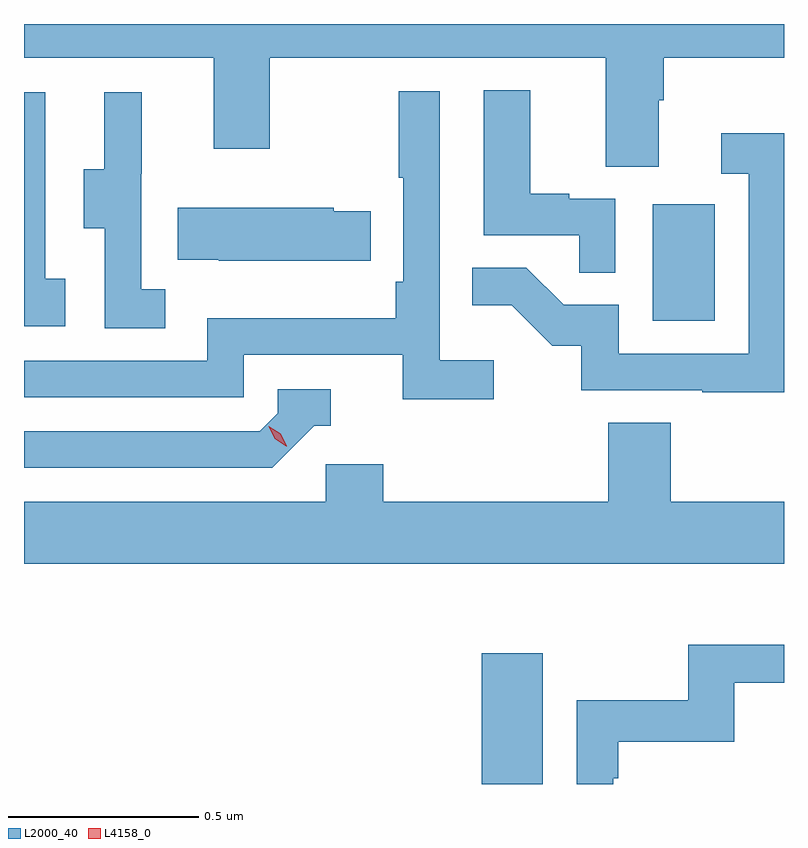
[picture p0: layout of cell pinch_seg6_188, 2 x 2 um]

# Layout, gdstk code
import gdstk
lib = gdstk.Library(unit=1e-6, precision=1e-09)
def R(c, l, rs):  # rectangles x0, y0, x1, y1
    for r in rs: c.add(gdstk.rectangle(r[:2], r[2:], *l))
def P(c, l, *ps):  # polygons
    for p in ps: c.add(gdstk.Polygon(p, *l))
L2000_40 = (2000, 40)
L4158_0 = (4158, 0)

pinch_seg6_188 = lib.new_cell('pinch_seg6_188')
R(pinch_seg6_188, L2000_40, [(1058.018,932.105,1058.179,932.449), (1058.468,933.324,1058.632,933.631)])
P(pinch_seg6_188, L2000_40, [(1058.485,933.904),(1058.498,933.904),(1058.498,934.016),(1058.814,934.016),(1058.814,934.105),(1056.814,934.105),(1056.814,934.016),(1057.313,934.016),(1057.313,933.777),(1057.461,933.777),(1057.461,934.016),(1058.345,934.016),(1058.345,933.73),(1058.485,933.73)],
  [(1058.37,933.645),(1058.249,933.645),(1058.249,933.658),(1058.146,933.658),(1058.146,933.931),(1058.024,933.931),(1058.024,933.549),(1058.275,933.549),(1058.275,933.451),(1058.37,933.451)],
  [(1058.05,933.22),(1057.908,933.22),(1057.908,933.928),(1057.8,933.928),(1057.8,933.7),(1057.812,933.7),(1057.812,933.427),(1057.792,933.427),(1057.792,933.331),(1057.296,933.331),(1057.296,933.219),(1056.814,933.219),(1056.814,933.123),(1057.392,933.123),(1057.392,933.234),(1057.811,933.234),(1057.811,933.118),(1058.05,933.118)],
  [(1056.922,933.434),(1056.87,933.434),(1056.87,933.925),(1056.814,933.925),(1056.814,933.309),(1056.922,933.309)],
  [(1057.186,933.407),(1057.122,933.407),(1057.122,933.711),(1057.124,933.711),(1057.124,933.925),(1057.025,933.925),(1057.025,933.723),(1056.971,933.723),(1056.971,933.568),(1057.026,933.568),(1057.026,933.304),(1057.186,933.304)],
  [(1058.814,933.817),(1058.649,933.817),(1058.649,933.711),(1058.721,933.711),(1058.721,933.237),(1058.379,933.237),(1058.379,933.366),(1058.234,933.366),(1058.136,933.464),(1057.993,933.464),(1057.993,933.365),(1058.097,933.365),(1058.204,933.258),(1058.281,933.258),(1058.281,933.141),(1058.599,933.141),(1058.599,933.136),(1058.814,933.136)],
  [(1057.727,933.612),(1057.629,933.612),(1057.629,933.622),(1057.219,933.622),(1057.219,933.485),(1057.327,933.485),(1057.327,933.482),(1057.727,933.482)],
  [(1057.578,933.048),(1057.621,933.048),(1057.621,933.144),(1057.482,933.144),(1057.482,933.081),(1057.434,933.033),(1056.814,933.033),(1056.814,932.937),(1057.467,932.937)],
  [(1058.814,932.848),(1058.516,932.848),(1058.516,933.056),(1058.351,933.056),(1058.351,932.848),(1057.76,932.848),(1057.76,932.946),(1057.608,932.946),(1057.608,932.848),(1056.814,932.848),(1056.814,932.684),(1058.814,932.684)],
  [(1058.364,932.12),(1058.378,932.12),(1058.378,932.216),(1058.683,932.216),(1058.683,932.371),(1058.814,932.371),(1058.814,932.472),(1058.562,932.472),(1058.562,932.326),(1058.268,932.326),(1058.268,932.105),(1058.364,932.105)])
P(pinch_seg6_188, L4158_0, [(1057.504,932.994),(1057.474,933.014),(1057.458,933.046),(1057.458,933.047),(1057.458,933.047),(1057.489,933.027),(1057.505,932.995),(1057.505,932.994)])

lib.write_gds('pinch_seg6_188.gds')
